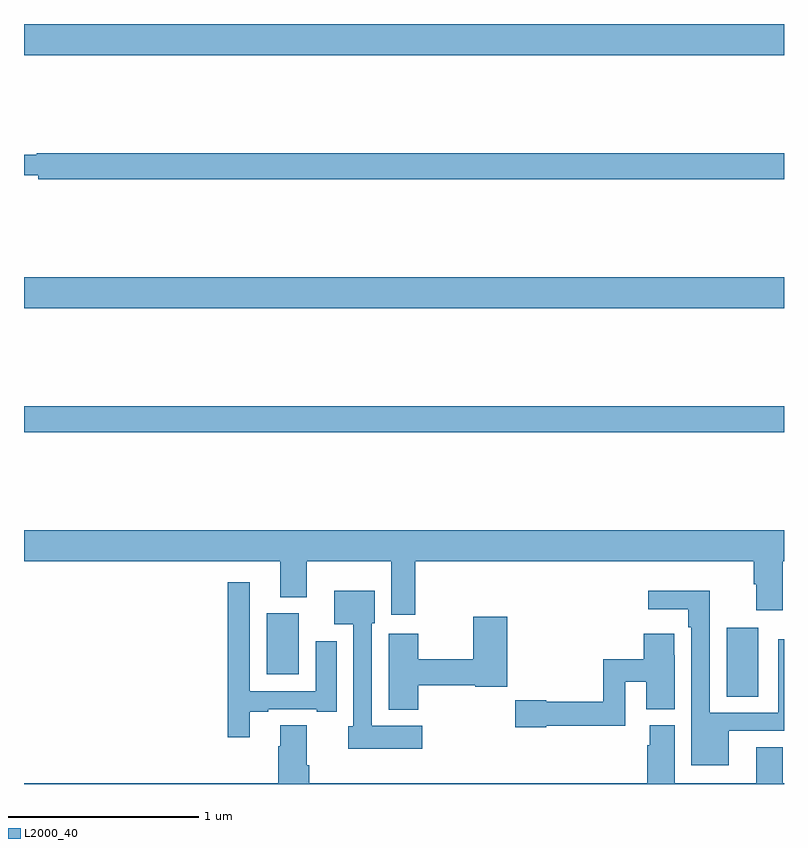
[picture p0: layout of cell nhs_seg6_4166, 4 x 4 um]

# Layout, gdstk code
import gdstk
lib = gdstk.Library(unit=1e-6, precision=1e-09)
def R(c, l, rs):  # rectangles x0, y0, x1, y1
    for r in rs: c.add(gdstk.rectangle(r[:2], r[2:], *l))
def P(c, l, *ps):  # polygons
    for p in ps: c.add(gdstk.Polygon(p, *l))
L2000_40 = (2000, 40)

nhs_seg6_4166 = lib.new_cell('nhs_seg6_4166')
R(nhs_seg6_4166, L2000_40, [(360.698,943.96,360.865,944.323), (358.277,944.078,358.447,944.398), (357,945.352,361,945.488), (357,946.004,361,946.168), (357,947.336,361,947.5)])
P(nhs_seg6_4166, L2000_40, [(361,946.82),(357.068,946.82),(357.068,946.813),(357,946.813),(357,946.703),(357.076,946.703),(357.076,946.684),(361,946.684)],
  [(359.06,944.672),(360.842,944.672),(360.842,944.552),(360.854,944.552),(360.854,944.415),(360.994,944.415),(360.994,944.672),(361,944.672),(361,944.836),(357,944.836),(357,944.672),(358.349,944.672),(358.349,944.483),(358.489,944.483),(358.489,944.672),(358.934,944.672),(358.934,944.391),(359.06,944.391)],
  [(358.189,943.881),(358.285,943.881),(358.285,943.893),(358.541,943.893),(358.541,943.881),(358.645,943.881),(358.645,944.251),(358.535,944.251),(358.535,943.989),(358.188,943.989),(358.188,944.563),(358.072,944.563),(358.072,943.746),(358.189,943.746)],
  [(360.709,943.779),(361,943.779),(361,944.263),(360.969,944.263),(360.969,943.875),(360.609,943.875),(360.609,944.518),(360.285,944.518),(360.285,944.42),(360.497,944.42),(360.497,944.324),(360.513,944.324),(360.513,943.598),(360.709,943.598)],
  [(359.095,943.807),(358.83,943.807),(358.83,944.346),(358.846,944.346),(358.846,944.518),(358.634,944.518),(358.634,944.342),(358.734,944.342),(358.734,943.803),(358.706,943.803),(358.706,943.685),(359.095,943.685)],
  [(359.076,944.02),(359.376,944.02),(359.376,944.012),(359.543,944.012),(359.543,944.38),(359.365,944.38),(359.365,944.156),(359.076,944.156),(359.076,944.29),(358.919,944.29),(358.919,943.892),(359.076,943.892)],
  [(359.748,943.806),(360.165,943.806),(360.165,944.038),(360.275,944.038),(360.275,943.894),(360.424,943.894),(360.424,944.177),(360.423,944.177),(360.423,944.29),(360.263,944.29),(360.263,944.156),(360.049,944.156),(360.049,943.934),(359.748,943.934),(359.748,943.942),(359.586,943.942),(359.586,943.798),(359.748,943.798)],
  [(361,943.504),(360.994,943.504),(360.994,943.694),(360.854,943.694),(360.854,943.504),(360.424,943.504),(360.424,943.809),(360.293,943.809),(360.293,943.703),(360.281,943.703),(360.281,943.504),(358.502,943.504),(358.502,943.6),(358.489,943.6),(358.489,943.808),(358.349,943.808),(358.349,943.7),(358.337,943.7),(358.337,943.504),(357,943.504),(357,943.5),(361,943.5)])

lib.write_gds('nhs_seg6_4166.gds')
